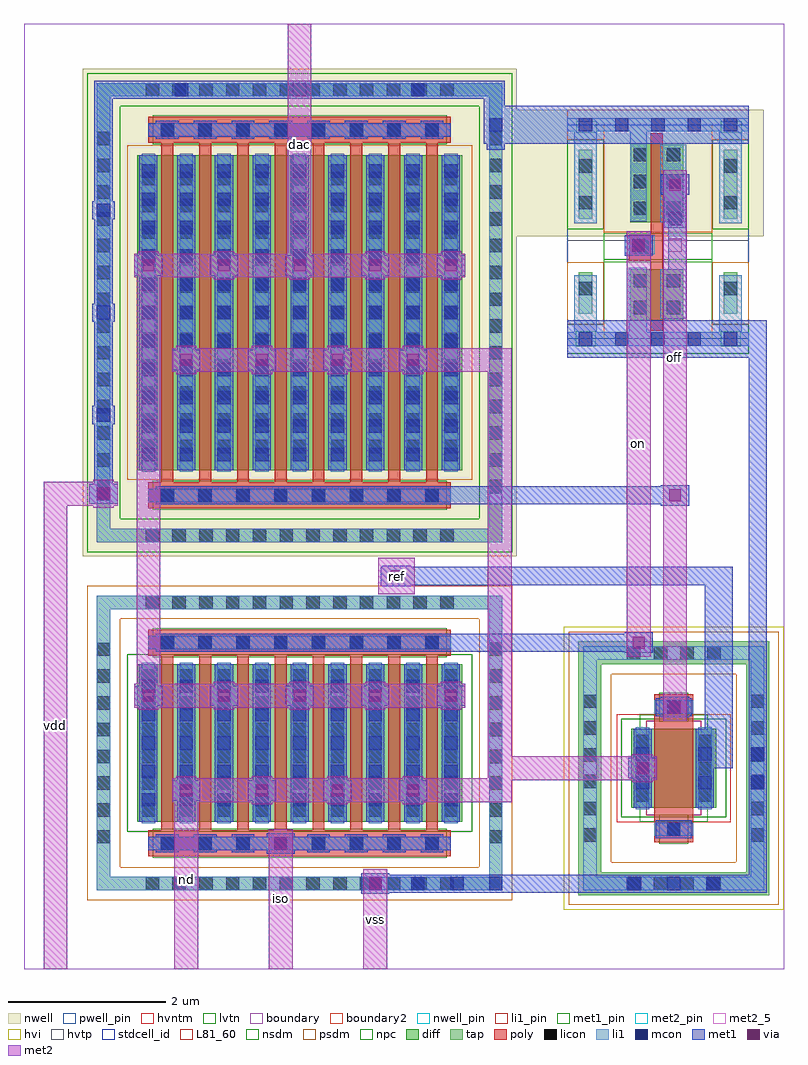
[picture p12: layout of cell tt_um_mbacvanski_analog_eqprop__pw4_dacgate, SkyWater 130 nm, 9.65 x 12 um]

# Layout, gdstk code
import gdstk
lib = gdstk.Library(unit=1e-6, precision=1e-09)
def R(c, l, rs):  # rectangles x0, y0, x1, y1
    for r in rs: c.add(gdstk.rectangle(r[:2], r[2:], *l))
def A(c, l, x, y, w, h, nx, ny, dx, dy):  # array of equal rectangles
    R(c, l, [(x+i*dx, y+j*dy, x+i*dx+w, y+j*dy+h) for i in range(nx) for j in range(ny)])
def P(c, l, *ps):  # polygons
    for p in ps: c.add(gdstk.Polygon(p, *l))
nwell_pin = (64, 16)
nwell = (64, 20)
diff = (65, 20)
tap = (65, 44)
poly = (66, 20)
licon = (66, 44)
li1_pin = (67, 16)
li1 = (67, 20)
mcon = (67, 44)
met1_pin = (68, 16)
met1 = (68, 20)
via = (68, 44)
met2_5 = (69, 5)
met2_pin = (69, 16)
met2 = (69, 20)
hvi = (75, 20)
hvtp = (78, 44)
stdcell_id = (81, 4)
L81_60 = (81, 60)
nsdm = (93, 44)
psdm = (94, 20)
npc = (95, 20)
pwell_pin = (122, 16)
hvntm = (125, 20)
lvtn = (125, 44)
boundary = (235, 4)
boundary2 = (236, 0)

sky130_fd_sc_hd__tapvpwr = lib.new_cell('sky130_fd_sc_hd__tapvpwrvgnd_1')
R(sky130_fd_sc_hd__tapvpwr, nwell, [(-0.19,1.305,0.65,2.91)])
R(sky130_fd_sc_hd__tapvpwr, tap, [(0.145,0.32,0.315,0.845), (0.145,1.525,0.315,2.4)])
R(sky130_fd_sc_hd__tapvpwr, licon, [(0.145,0.555,0.315,0.725), (0.145,1.645,0.315,1.815), (0.145,2.11,0.315,2.28)])
R(sky130_fd_sc_hd__tapvpwr, li1, [(0,-0.085,0.46,0.085), (0.085,0,0.375,0.81), (0.085,1.47,0.375,2.72), (0,2.635,0.46,2.805)])
R(sky130_fd_sc_hd__tapvpwr, mcon, [(0.145,-0.085,0.315,0.085), (0.145,2.635,0.315,2.805)])
R(sky130_fd_sc_hd__tapvpwr, met1_pin, [(0.105,-0.09,0.36,0.1), (0.11,2.62,0.375,2.765)])
R(sky130_fd_sc_hd__tapvpwr, met1, [(0,-0.24,0.46,0.24), (0,2.48,0.46,2.96)])
R(sky130_fd_sc_hd__tapvpwr, hvtp, [(0,1.25,0.46,2.72)])
R(sky130_fd_sc_hd__tapvpwr, stdcell_id, [(0,0,0.46,2.72)])
R(sky130_fd_sc_hd__tapvpwr, nsdm, [(0,-0.19,0.46,0.19), (0,1.395,0.46,2.53)])
R(sky130_fd_sc_hd__tapvpwr, psdm, [(0,0.19,0.46,0.975), (0,2.53,0.46,2.91)])
sky130_fd_sc_hd__tapvpwr.add(gdstk.Label('VGND', (0.23,0), layer=68, texttype=5))
sky130_fd_sc_hd__tapvpwr.add(gdstk.Label('VPWR', (0.23,2.72), layer=68, texttype=5))
sky130_fd_sc_hd__tapvpwr.add(gdstk.Label('tapvpwrvgnd_1', (0,0), layer=83, texttype=44))

tt_um_mbacvanski_analog_ = lib.new_cell('tt_um_mbacvanski_analog_eqprop__cl1r')
R(tt_um_mbacvanski_analog_, diff, [(-0.54,-0.5,0.54,0.5)])
R(tt_um_mbacvanski_analog_, tap, [(-1.21,-1.61,1.21,-1.32), (-1.21,-1.32,-0.92,1.32), (0.92,-1.32,1.21,1.32), (-1.21,1.32,1.21,1.61)])
R(tt_um_mbacvanski_analog_, poly, [(-0.25,-0.94,0.25,0.94)])
A(tt_um_mbacvanski_analog_, licon, -0.595, -1.55, 0.17, 0.17, 4, 2, 0.34, 2.93)
A(tt_um_mbacvanski_analog_, licon, -1.15, -0.935, 0.17, 0.17, 1, 6, 0, 0.34)
A(tt_um_mbacvanski_analog_, licon, 0.98, -0.935, 0.17, 0.17, 1, 6, 0, 0.34)
A(tt_um_mbacvanski_analog_, licon, -0.48, -0.425, 0.17, 0.17, 1, 3, 0, 0.34)
A(tt_um_mbacvanski_analog_, licon, 0.31, -0.425, 0.17, 0.17, 1, 3, 0, 0.34)
R(tt_um_mbacvanski_analog_, licon, [(-0.085,-0.86,0.085,-0.69), (-0.085,0.69,0.085,0.86)])
R(tt_um_mbacvanski_analog_, li1, [(-1.15,-1.55,1.15,-1.38), (-1.15,-1.38,-0.98,1.38), (0.98,-1.38,1.15,1.38), (-0.25,-0.86,0.25,-0.69), (-0.48,-0.52,-0.31,0.52), (0.31,-0.52,0.48,0.52), (-0.25,0.69,0.25,0.86), (-1.15,1.38,1.15,1.55)])
R(tt_um_mbacvanski_analog_, mcon, [(-0.085,-0.86,0.085,-0.69), (-0.48,-0.265,-0.31,-0.095), (0.31,-0.265,0.48,-0.095), (-0.48,0.095,-0.31,0.265), (0.31,0.095,0.48,0.265), (-0.085,0.69,0.085,0.86)])
R(tt_um_mbacvanski_analog_, met1, [(-0.23,-0.89,0.23,-0.66), (-0.51,-0.5,-0.28,0.5), (0.28,-0.5,0.51,0.5), (-0.23,0.66,0.23,0.89)])
R(tt_um_mbacvanski_analog_, hvi, [(-1.395,-1.795,1.395,1.795)])
R(tt_um_mbacvanski_analog_, L81_60, [(-0.35,-0.6,0.35,0.6)])
R(tt_um_mbacvanski_analog_, nsdm, [(-0.665,-0.625,0.665,0.625)])
R(tt_um_mbacvanski_analog_, psdm, [(-1.335,-1.735,1.335,-1.195), (-1.335,-1.195,-0.795,1.195), (0.795,-1.195,1.335,1.195), (-1.335,1.195,1.335,1.735)])
R(tt_um_mbacvanski_analog_, npc, [(-0.185,-0.96,0.185,-0.59), (-0.185,0.59,0.185,0.96)])
R(tt_um_mbacvanski_analog_, hvntm, [(-0.725,-0.685,0.725,0.685)])
R(tt_um_mbacvanski_analog_, lvtn, [(-0.43,-0.68,0.43,0.68)])
R(tt_um_mbacvanski_analog_, boundary, [(-1.065,-1.465,1.065,1.465)])
tt_um_mbacvanski_analog_.add(gdstk.Label('G', (0,0.775), layer=67, texttype=5))
tt_um_mbacvanski_analog_.add(gdstk.Label('S', (0.395,0), layer=67, texttype=5))
tt_um_mbacvanski_analog_.add(gdstk.Label('D', (-0.395,0), layer=67, texttype=5))
tt_um_mbacvanski_analog_.add(gdstk.Label('B', (0,-1.465), layer=67, texttype=5))

sky130_fd_sc_hd__inv_1 = lib.new_cell('sky130_fd_sc_hd__inv_1')
R(sky130_fd_sc_hd__inv_1, nwell_pin, [(0.145,2.635,0.315,2.805), (0.145,2.635,0.315,2.805)])
R(sky130_fd_sc_hd__inv_1, nwell, [(-0.19,1.305,1.57,2.91)])
R(sky130_fd_sc_hd__inv_1, diff, [(0.34,0.235,1.01,0.885), (0.34,1.485,1.01,2.485)])
P(sky130_fd_sc_hd__inv_1, poly, [(0.6,0.105),(0.6,0.995),(0.32,0.995),(0.32,1.325),(0.6,1.325),(0.6,2.615),(0.75,2.615),(0.75,0.105)])
A(sky130_fd_sc_hd__inv_1, licon, 0.38, 1.575, 0.17, 0.17, 1, 3, 0, 0.34)
A(sky130_fd_sc_hd__inv_1, licon, 0.8, 1.575, 0.17, 0.17, 1, 3, 0, 0.34)
R(sky130_fd_sc_hd__inv_1, licon, [(0.38,0.315,0.55,0.485), (0.8,0.315,0.97,0.485), (0.38,0.655,0.55,0.825), (0.8,0.655,0.97,0.825), (0.4,1.075,0.57,1.245)])
R(sky130_fd_sc_hd__inv_1, li1_pin, [(0.36,1.105,0.53,1.275), (0.82,1.105,0.99,1.275), (0.82,1.445,0.99,1.615)])
R(sky130_fd_sc_hd__inv_1, li1, [(0,-0.085,1.38,0.085), (0.32,0.005,0.55,0.905), (0.32,1.075,0.65,1.315), (0.34,1.495,0.55,2.675), (0,2.635,1.38,2.805)])
P(sky130_fd_sc_hd__inv_1, li1, [(0.72,0.255),(0.72,0.885),(0.82,0.885),(0.82,1.485),(0.72,1.485),(0.72,2.465),(1.05,2.465),(1.05,0.255)])
A(sky130_fd_sc_hd__inv_1, mcon, 0.145, -0.085, 0.17, 0.17, 3, 2, 0.46, 2.72)
R(sky130_fd_sc_hd__inv_1, met1_pin, [(0.145,-0.085,0.315,0.085), (0.145,-0.085,0.315,0.085), (0.145,2.635,0.315,2.805), (0.145,2.635,0.315,2.805)])
R(sky130_fd_sc_hd__inv_1, hvtp, [(0,1.25,1.38,2.72)])
R(sky130_fd_sc_hd__inv_1, stdcell_id, [(0,0,1.38,2.72)])
R(sky130_fd_sc_hd__inv_1, nsdm, [(0,-0.19,1.38,1.015)])
R(sky130_fd_sc_hd__inv_1, psdm, [(0,1.355,1.38,2.91)])
R(sky130_fd_sc_hd__inv_1, npc, [(0,0.975,1.38,1.345)])
R(sky130_fd_sc_hd__inv_1, pwell_pin, [(0.145,-0.085,0.315,0.085), (0.145,-0.085,0.315,0.085)])
R(sky130_fd_sc_hd__inv_1, boundary2, [(0,0,1.38,2.72)])
sky130_fd_sc_hd__inv_1.add(gdstk.FlexPath([(0,0),(1.38,0)], 0.48, ends="flush", simple_path=True, layer=68, datatype=20))  # met1
sky130_fd_sc_hd__inv_1.add(gdstk.FlexPath([(0,2.72),(1.38,2.72)], 0.48, ends="flush", simple_path=True, layer=68, datatype=20))  # met1
sky130_fd_sc_hd__inv_1.add(gdstk.Label('A', (0.445,1.19), layer=67, texttype=5))
sky130_fd_sc_hd__inv_1.add(gdstk.Label('Y', (0.905,1.19), layer=67, texttype=5))
sky130_fd_sc_hd__inv_1.add(gdstk.Label('Y', (0.905,1.53), layer=67, texttype=5))
sky130_fd_sc_hd__inv_1.add(gdstk.Label('VPWR', (0.23,2.72), layer=68, texttype=5))
sky130_fd_sc_hd__inv_1.add(gdstk.Label('VGND', (0.23,0), layer=68, texttype=5))
sky130_fd_sc_hd__inv_1.add(gdstk.Label('inv_1', (0,0), layer=83, texttype=44))
sky130_fd_sc_hd__inv_1.add(gdstk.Label('VPB', (0.23,2.72), layer=64, texttype=5))
sky130_fd_sc_hd__inv_1.add(gdstk.Label('VNB', (0.23,0), layer=64, texttype=59))

c_tt_um_mbacvanski_analog_ = lib.new_cell('tt_um_mbacvanski_analog_eqprop__tg8n')
R(c_tt_um_mbacvanski_analog_, diff, [(-2.065,-1,2.065,1)])
R(c_tt_um_mbacvanski_analog_, tap, [(-2.575,-1.87,2.575,-1.7), (-2.575,-1.7,-2.405,1.7), (2.405,-1.7,2.575,1.7), (-2.575,1.7,2.575,1.87)])
A(c_tt_um_mbacvanski_analog_, poly, -1.755, -1.11, 0.15, 2.22, 8, 1, 0.48, 0)
R(c_tt_um_mbacvanski_analog_, poly, [(-1.92,-1.44,1.92,-1.11), (-1.92,1.11,1.92,1.44)])
A(c_tt_um_mbacvanski_analog_, licon, -1.955, -1.87, 0.17, 0.17, 12, 2, 0.34, 3.57)
A(c_tt_um_mbacvanski_analog_, licon, -1.765, -1.36, 0.17, 0.17, 8, 2, 0.48, 2.55)
A(c_tt_um_mbacvanski_analog_, licon, -2.575, -1.275, 0.17, 0.17, 1, 8, 0, 0.34)
A(c_tt_um_mbacvanski_analog_, licon, 2.405, -1.275, 0.17, 0.17, 1, 8, 0, 0.34)
A(c_tt_um_mbacvanski_analog_, licon, -2.005, -0.935, 0.17, 0.17, 9, 6, 0.48, 0.34)
A(c_tt_um_mbacvanski_analog_, li1, -2.005, -1.02, 0.17, 2.04, 9, 1, 0.48, 0)
R(c_tt_um_mbacvanski_analog_, li1, [(-2.575,-1.87,2.575,-1.7), (-2.575,-1.7,-2.405,1.7), (2.405,-1.7,2.575,1.7), (-1.92,-1.36,1.92,-1.19), (-1.92,1.19,1.92,1.36), (-2.575,1.7,2.575,1.87)])
A(c_tt_um_mbacvanski_analog_, mcon, -1.765, -1.36, 0.17, 0.17, 8, 2, 0.48, 2.55)
A(c_tt_um_mbacvanski_analog_, mcon, -2.005, -0.805, 0.17, 0.17, 9, 5, 0.48, 0.36)
A(c_tt_um_mbacvanski_analog_, met1, -1.825, -1.39, 0.29, 0.03, 8, 2, 0.48, 0.2)
A(c_tt_um_mbacvanski_analog_, met1, -2.035, -1, 0.23, 2, 9, 1, 0.48, 0)
A(c_tt_um_mbacvanski_analog_, met1, -1.825, 1.16, 0.29, 0.03, 8, 2, 0.48, 0.2)
R(c_tt_um_mbacvanski_analog_, met1, [(-1.92,-1.36,1.92,-1.19), (-1.92,1.19,1.92,1.36)])
R(c_tt_um_mbacvanski_analog_, nsdm, [(-2.19,-1.125,2.19,1.125)])
R(c_tt_um_mbacvanski_analog_, psdm, [(-2.7,-1.995,2.7,-1.575), (-2.7,-1.575,-2.28,1.575), (2.28,-1.575,2.7,1.575), (-2.7,1.575,2.7,1.995)])
R(c_tt_um_mbacvanski_analog_, npc, [(-1.865,-1.46,1.865,-1.09), (-1.865,1.09,1.865,1.46)])
R(c_tt_um_mbacvanski_analog_, boundary, [(-2.49,-1.785,2.49,1.785)])
c_tt_um_mbacvanski_analog_.add(gdstk.Label('S7', (1.44,0), layer=67, texttype=5))
c_tt_um_mbacvanski_analog_.add(gdstk.Label('D6', (0.96,0), layer=67, texttype=5))
c_tt_um_mbacvanski_analog_.add(gdstk.Label('S5', (0.48,0), layer=67, texttype=5))
c_tt_um_mbacvanski_analog_.add(gdstk.Label('S3', (-0.48,0), layer=67, texttype=5))
c_tt_um_mbacvanski_analog_.add(gdstk.Label('D2', (-0.96,0), layer=67, texttype=5))
c_tt_um_mbacvanski_analog_.add(gdstk.Label('S1', (-1.44,0), layer=67, texttype=5))
c_tt_um_mbacvanski_analog_.add(gdstk.Label('D4', (0,0), layer=67, texttype=5))
c_tt_um_mbacvanski_analog_.add(gdstk.Label('G', (-1.68,1.275), layer=67, texttype=5))
c_tt_um_mbacvanski_analog_.add(gdstk.Label('G', (-1.2,1.275), layer=67, texttype=5))
c_tt_um_mbacvanski_analog_.add(gdstk.Label('G', (-0.72,1.275), layer=67, texttype=5))
c_tt_um_mbacvanski_analog_.add(gdstk.Label('G', (-0.24,1.275), layer=67, texttype=5))
c_tt_um_mbacvanski_analog_.add(gdstk.Label('G', (0.24,1.275), layer=67, texttype=5))
c_tt_um_mbacvanski_analog_.add(gdstk.Label('G', (0.72,1.275), layer=67, texttype=5))
c_tt_um_mbacvanski_analog_.add(gdstk.Label('G', (1.2,1.275), layer=67, texttype=5))
c_tt_um_mbacvanski_analog_.add(gdstk.Label('G', (1.68,1.275), layer=67, texttype=5))
c_tt_um_mbacvanski_analog_.add(gdstk.Label('D0', (-1.92,0), layer=67, texttype=5))
c_tt_um_mbacvanski_analog_.add(gdstk.Label('B', (0,-1.785), layer=67, texttype=5))

c_tt_um_mbacvanski_analog__ = lib.new_cell('tt_um_mbacvanski_analog_eqprop__tg8p')
R(c_tt_um_mbacvanski_analog__, nwell, [(-2.755,-3.095,2.755,3.095)])
R(c_tt_um_mbacvanski_analog__, diff, [(-2.065,-2,2.065,2)])
R(c_tt_um_mbacvanski_analog__, tap, [(-2.575,-2.915,2.575,-2.745), (-2.575,-2.745,-2.405,2.745), (2.405,-2.745,2.575,2.745), (-2.575,2.745,2.575,2.915)])
A(c_tt_um_mbacvanski_analog__, poly, -1.755, -2.155, 0.15, 4.31, 8, 1, 0.48, 0)
R(c_tt_um_mbacvanski_analog__, poly, [(-1.92,-2.485,1.92,-2.155), (-1.92,2.155,1.92,2.485)])
A(c_tt_um_mbacvanski_analog__, licon, -1.955, -2.915, 0.17, 0.17, 12, 2, 0.34, 5.66)
A(c_tt_um_mbacvanski_analog__, licon, -1.765, -2.405, 0.17, 0.17, 8, 2, 0.48, 4.64)
A(c_tt_um_mbacvanski_analog__, licon, -2.575, -2.295, 0.17, 0.17, 1, 14, 0, 0.34)
A(c_tt_um_mbacvanski_analog__, licon, 2.405, -2.295, 0.17, 0.17, 1, 14, 0, 0.34)
A(c_tt_um_mbacvanski_analog__, licon, -2.005, -1.785, 0.17, 0.17, 9, 11, 0.48, 0.34)
A(c_tt_um_mbacvanski_analog__, li1, -2.005, -2.02, 0.17, 4.04, 9, 1, 0.48, 0)
R(c_tt_um_mbacvanski_analog__, li1, [(-2.575,-2.915,2.575,-2.745), (-2.575,-2.745,-2.405,2.745), (2.405,-2.745,2.575,2.745), (-1.92,-2.405,1.92,-2.235), (-1.92,2.235,1.92,2.405), (-2.575,2.745,2.575,2.915)])
A(c_tt_um_mbacvanski_analog__, mcon, -1.765, -2.405, 0.17, 0.17, 8, 2, 0.48, 4.64)
A(c_tt_um_mbacvanski_analog__, mcon, -2.005, -1.885, 0.17, 0.17, 9, 11, 0.48, 0.36)
A(c_tt_um_mbacvanski_analog__, met1, -1.825, -2.435, 0.29, 0.03, 8, 2, 0.48, 0.2)
A(c_tt_um_mbacvanski_analog__, met1, -2.035, -2, 0.23, 4, 9, 1, 0.48, 0)
A(c_tt_um_mbacvanski_analog__, met1, -1.825, 2.205, 0.29, 0.03, 8, 2, 0.48, 0.2)
R(c_tt_um_mbacvanski_analog__, met1, [(-1.92,-2.405,1.92,-2.235), (-1.92,2.235,1.92,2.405)])
R(c_tt_um_mbacvanski_analog__, nsdm, [(-2.7,-3.04,2.7,-2.62), (-2.7,-2.62,-2.28,2.62), (2.28,-2.62,2.7,2.62), (-2.7,2.62,2.7,3.04)])
R(c_tt_um_mbacvanski_analog__, psdm, [(-2.19,-2.125,2.19,2.125)])
R(c_tt_um_mbacvanski_analog__, npc, [(-1.865,-2.505,1.865,-2.135), (-1.865,2.135,1.865,2.505)])
R(c_tt_um_mbacvanski_analog__, boundary, [(-2.49,-2.83,2.49,2.83)])
c_tt_um_mbacvanski_analog__.add(gdstk.Label('S7', (1.44,0), layer=67, texttype=5))
c_tt_um_mbacvanski_analog__.add(gdstk.Label('D6', (0.96,0), layer=67, texttype=5))
c_tt_um_mbacvanski_analog__.add(gdstk.Label('S5', (0.48,0), layer=67, texttype=5))
c_tt_um_mbacvanski_analog__.add(gdstk.Label('S3', (-0.48,0), layer=67, texttype=5))
c_tt_um_mbacvanski_analog__.add(gdstk.Label('D2', (-0.96,0), layer=67, texttype=5))
c_tt_um_mbacvanski_analog__.add(gdstk.Label('S1', (-1.44,0), layer=67, texttype=5))
c_tt_um_mbacvanski_analog__.add(gdstk.Label('D4', (0,0), layer=67, texttype=5))
c_tt_um_mbacvanski_analog__.add(gdstk.Label('G', (-1.68,2.32), layer=67, texttype=5))
c_tt_um_mbacvanski_analog__.add(gdstk.Label('G', (-1.2,2.32), layer=67, texttype=5))
c_tt_um_mbacvanski_analog__.add(gdstk.Label('G', (-0.72,2.32), layer=67, texttype=5))
c_tt_um_mbacvanski_analog__.add(gdstk.Label('G', (-0.24,2.32), layer=67, texttype=5))
c_tt_um_mbacvanski_analog__.add(gdstk.Label('G', (0.24,2.32), layer=67, texttype=5))
c_tt_um_mbacvanski_analog__.add(gdstk.Label('G', (0.72,2.32), layer=67, texttype=5))
c_tt_um_mbacvanski_analog__.add(gdstk.Label('G', (1.2,2.32), layer=67, texttype=5))
c_tt_um_mbacvanski_analog__.add(gdstk.Label('G', (1.68,2.32), layer=67, texttype=5))
c_tt_um_mbacvanski_analog__.add(gdstk.Label('D0', (-1.92,0), layer=67, texttype=5))
c_tt_um_mbacvanski_analog__.add(gdstk.Label('B', (0,-2.83), layer=67, texttype=5))

c_tt_um_mbacvanski_analog___ = lib.new_cell('tt_um_mbacvanski_analog_eqprop__pw4_dacgate')
R(c_tt_um_mbacvanski_analog___, nwell, [(6.2,9.305,6.8,10.91)])
A(c_tt_um_mbacvanski_analog___, li1, 7.665, 1, 0.17, 0.17, 3, 1, 0.5, 0)
A(c_tt_um_mbacvanski_analog___, li1, 0.925, 6.95, 0.17, 0.17, 1, 3, 0, 1.3)
A(c_tt_um_mbacvanski_analog___, li1, 1.915, 11.08, 0.17, 0.17, 3, 1, 1.5, 0)
R(c_tt_um_mbacvanski_analog___, li1, [(4.375,1,4.545,1.17), (4.915,1,5.085,1.17), (5.415,1,5.585,1.17), (5.905,1,6.075,1.17), (9.23,2.125,9.4,2.975), (0.925,5.95,1.095,6.12), (7.72,9.105,7.89,9.275), (8.18,9.445,8.35,9.615), (5.905,10.465,6.075,10.975)])
A(c_tt_um_mbacvanski_analog___, mcon, 7.665, 1, 0.17, 0.17, 3, 1, 0.5, 0)
A(c_tt_um_mbacvanski_analog___, mcon, 0.925, 6.95, 0.17, 0.17, 1, 3, 0, 1.3)
A(c_tt_um_mbacvanski_analog___, mcon, 1.915, 11.08, 0.17, 0.17, 3, 1, 1.5, 0)
R(c_tt_um_mbacvanski_analog___, mcon, [(4.375,1,4.545,1.17), (4.915,1,5.085,1.17), (5.415,1,5.585,1.17), (5.905,1,6.075,1.17), (9.23,2.285,9.4,2.455), (9.23,2.645,9.4,2.815), (0.925,5.95,1.095,6.12), (7.72,9.105,7.89,9.275), (8.18,9.445,8.35,9.615), (5.905,10.635,6.075,10.805)])
A(c_tt_um_mbacvanski_analog___, met1, 1.88, 2.14, 0.36, 0.26, 4, 2, 0.96, 5.465)
A(c_tt_um_mbacvanski_analog___, met1, 1.4, 3.34, 0.36, 0.26, 5, 2, 0.96, 5.465)
A(c_tt_um_mbacvanski_analog___, met1, 0.865, 6.92, 0.29, 0.23, 1, 3, 0, 1.3)
R(c_tt_um_mbacvanski_analog___, met1, [(4.28,0.955,4.64,0.97), (4.28,0.97,9.43,1.2), (4.28,1.2,4.64,1.215), (9.2,1.2,9.43,7.76), (3.08,1.465,3.44,1.725), (7.675,2.42,8.035,2.68), (8.645,2.55,9,4.875), (8.085,3.195,8.445,3.455), (7.625,4.015,7.985,4.03), (1.705,4.03,7.985,4.26), (7.625,4.26,7.985,4.275), (4.55,4.86,4.91,4.875), (4.53,4.875,9,5.105), (4.55,5.105,4.91,5.12), (8.085,5.885,8.445,5.9), (1.705,5.9,8.445,6.13), (0.83,5.905,1.19,6.165), (8.085,6.13,8.445,6.145), (0.895,6.165,1.125,6.92), (0.895,7.15,1.125,8.22), (6.9,7.76,9.43,8.24), (0.895,8.45,1.125,9.52), (7.625,9.06,7.985,9.32), (8.12,9.415,8.41,9.83), (0.895,9.75,1.125,11.05), (8.085,9.83,8.445,10.09), (5.875,10.405,6.105,10.48), (5.84,10.48,9.2,10.96), (5.84,10.96,6.105,11.05), (0.895,11.05,6.105,11.28)])
A(c_tt_um_mbacvanski_analog___, via, 1.985, 2.195, 0.15, 0.15, 4, 2, 0.96, 5.465)
A(c_tt_um_mbacvanski_analog___, via, 1.505, 3.395, 0.15, 0.15, 5, 2, 0.96, 5.465)
R(c_tt_um_mbacvanski_analog___, via, [(4.385,1.01,4.535,1.16), (3.185,1.52,3.335,1.67), (7.78,2.475,7.93,2.625), (8.19,3.25,8.34,3.4), (7.73,4.07,7.88,4.22), (4.655,4.915,4.805,5.065), (8.19,5.94,8.34,6.09), (0.935,5.96,1.085,6.11), (7.73,9.115,7.88,9.265), (8.19,9.885,8.34,10.035)])
R(c_tt_um_mbacvanski_analog___, met2_5, [(7.755,6.62,7.855,6.715), (8.215,7.72,8.315,7.82)])
R(c_tt_um_mbacvanski_analog___, met2_pin, [(4.41,0.58,4.51,0.68), (3.21,0.84,3.31,0.94), (2.01,1.085,2.11,1.185), (0.35,3.045,0.45,3.145), (4.68,4.94,4.78,5.04), (3.45,10.42,3.55,10.52)])
A(c_tt_um_mbacvanski_analog___, met2, 2.89, 2.09, 0.26, 0.03, 3, 1, 0.96, 0)
A(c_tt_um_mbacvanski_analog___, met2, 1.93, 2.42, 0.26, 0.03, 4, 2, 0.96, 5.135)
A(c_tt_um_mbacvanski_analog___, met2, 1.45, 3.29, 0.26, 0.03, 5, 1, 0.96, 0)
A(c_tt_um_mbacvanski_analog___, met2, 2.41, 3.62, 0.26, 0.03, 4, 2, 0.96, 5.135)
A(c_tt_um_mbacvanski_analog___, met2, 1.93, 7.885, 0.26, 0.03, 4, 1, 0.96, 0)
R(c_tt_um_mbacvanski_analog___, met2, [(0.25,0,0.55,5.885), (1.91,0,2.21,2.12), (3.11,0,3.41,1.775), (4.31,0,4.61,1.265), (1.88,2.12,6.19,2.4), (7.725,2.37,7.985,2.4), (1.88,2.4,8.035,2.42), (5.89,2.42,8.035,2.7), (5.89,2.7,6.19,7.585), (7.725,2.7,7.985,2.73), (8.115,3.145,8.415,10.14), (1.4,3.32,5.6,3.62), (1.43,3.62,1.73,8.785), (7.655,3.965,7.955,9.37), (4.5,4.76,4.96,5.22), (0.88,5.855,1.14,5.885), (0.25,5.885,1.19,6.185), (0.88,6.185,1.14,6.215), (1.88,7.585,6.19,7.885), (1.4,8.785,5.6,9.085), (1.45,9.085,1.71,9.115), (2.41,9.085,2.67,9.115), (3.35,9.085,3.65,12), (4.33,9.085,4.59,9.115), (5.29,9.085,5.55,9.115)])
R(c_tt_um_mbacvanski_analog___, boundary, [(0,0,9.65,12)])
c_tt_um_mbacvanski_analog___.add(gdstk.Reference(sky130_fd_sc_hd__tapvpwr, (6.9,8)))
c_tt_um_mbacvanski_analog___.add(gdstk.Reference(sky130_fd_sc_hd__tapvpwr, (8.74,8)))
c_tt_um_mbacvanski_analog___.add(gdstk.Reference(tt_um_mbacvanski_analog_, (8.25,2.55)))
c_tt_um_mbacvanski_analog___.add(gdstk.Reference(sky130_fd_sc_hd__inv_1, (7.36,8)))
c_tt_um_mbacvanski_analog___.add(gdstk.Reference(c_tt_um_mbacvanski_analog_, (3.5,2.87)))
c_tt_um_mbacvanski_analog___.add(gdstk.Reference(c_tt_um_mbacvanski_analog__, (3.5,8.335)))
c_tt_um_mbacvanski_analog___.add(gdstk.Label('vss', (4.46,0.63), layer=69, texttype=5))
c_tt_um_mbacvanski_analog___.add(gdstk.Label('ref', (4.73,4.99), layer=69, texttype=5))
c_tt_um_mbacvanski_analog___.add(gdstk.Label('vdd', (0.4,3.095), layer=69, texttype=5))
c_tt_um_mbacvanski_analog___.add(gdstk.Label('iso', (3.26,0.89), layer=69, texttype=5))
c_tt_um_mbacvanski_analog___.add(gdstk.Label('nd', (2.06,1.135), layer=69, texttype=5))
c_tt_um_mbacvanski_analog___.add(gdstk.Label('dac', (3.5,10.47), layer=69, texttype=5))
c_tt_um_mbacvanski_analog___.add(gdstk.Label('off', (8.265,7.77), layer=69, texttype=5))
c_tt_um_mbacvanski_analog___.add(gdstk.Label('on', (7.805,6.667), layer=69, texttype=5))

lib.write_gds('tt_um_mbacvanski_analog_eqprop__pw4_dacgate.gds')
